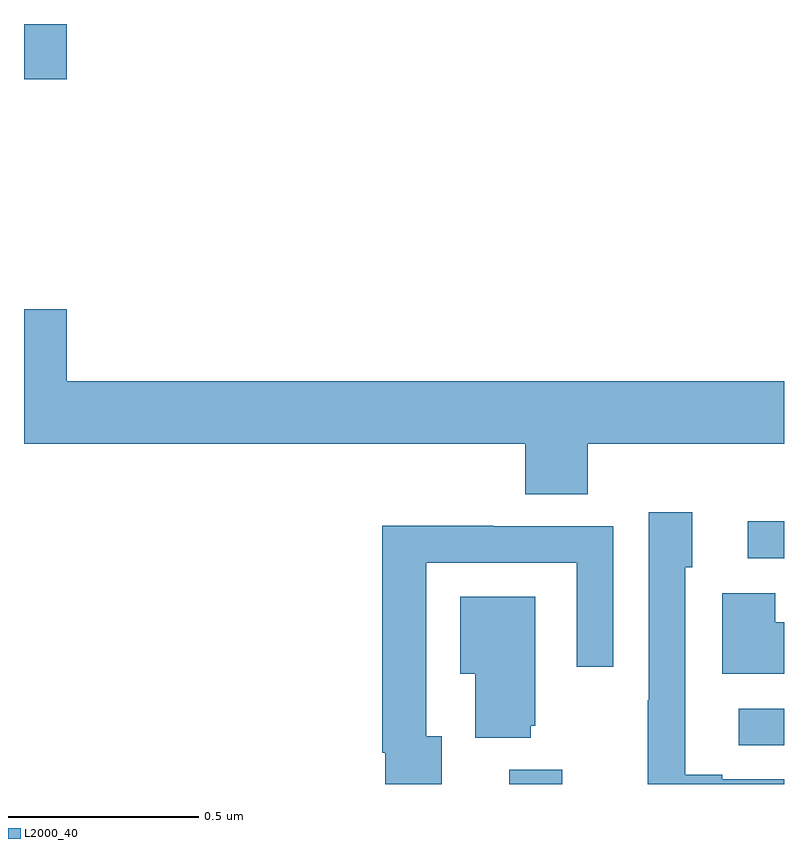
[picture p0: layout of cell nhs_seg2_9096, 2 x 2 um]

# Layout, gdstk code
import gdstk
lib = gdstk.Library(unit=1e-6, precision=1e-09)
def R(c, l, rs):  # rectangles x0, y0, x1, y1
    for r in rs: c.add(gdstk.rectangle(r[:2], r[2:], *l))
def P(c, l, *ps):  # polygons
    for p in ps: c.add(gdstk.Polygon(p, *l))
L2000_40 = (2000, 40)

nhs_seg2_9096 = lib.new_cell('nhs_seg2_9096')
R(nhs_seg2_9096, L2000_40, [(226.277,586.8,226.417,586.837), (226.881,586.902,227,586.998), (226.905,587.394,227,587.492), (225,588.654,225.112,588.8)])
P(nhs_seg2_9096, L2000_40, [(226.484,587.696),(227,587.696),(227,587.86),(225.112,587.86),(225.112,588.049),(225,588.049),(225,587.696),(226.319,587.696),(226.319,587.563),(226.484,587.563)],
  [(227,586.812),(226.837,586.812),(226.837,586.825),(226.74,586.825),(226.74,587.37),(226.759,587.37),(226.759,587.515),(226.644,587.515),(226.644,587.021),(226.642,587.021),(226.642,586.8),(227,586.8)],
  [(226.099,586.926),(226.059,586.926),(226.059,587.382),(226.455,587.382),(226.455,587.109),(226.551,587.109),(226.551,587.478),(226.235,587.478),(226.235,587.48),(225.943,587.48),(225.943,586.882),(225.951,586.882),(225.951,586.8),(226.099,586.8)],
  [(227,587.226),(226.977,587.226),(226.977,587.302),(226.838,587.302),(226.838,587.09),(227,587.09)],
  [(226.334,586.953),(226.345,586.953),(226.345,587.293),(226.148,587.293),(226.148,587.09),(226.187,587.09),(226.187,586.922),(226.334,586.922)])

lib.write_gds('nhs_seg2_9096.gds')
